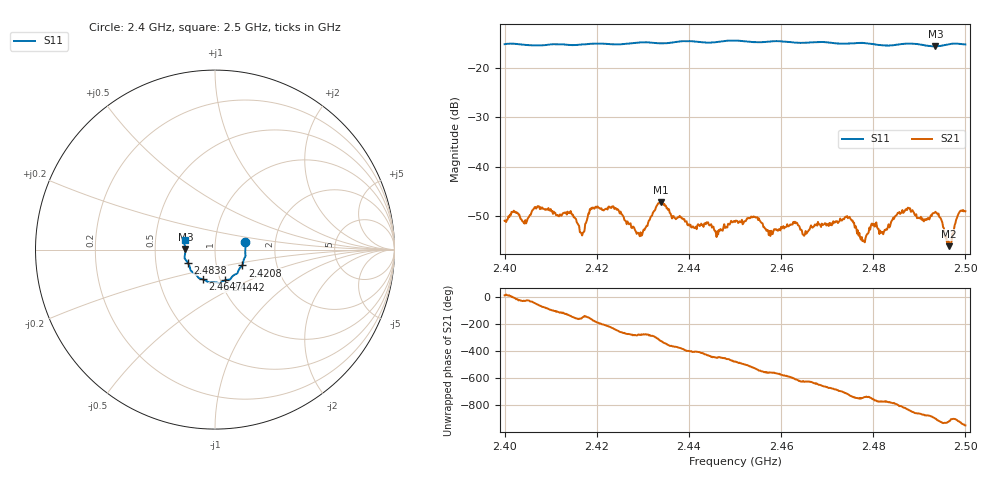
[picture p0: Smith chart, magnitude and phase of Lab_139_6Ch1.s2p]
# Hz S RI R 50
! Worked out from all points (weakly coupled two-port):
!   601 points, 2.4 GHz to 2.5 GHz, reference 50 ohm
!   highest |S21| = -47.25 dB at 2.4338 GHz (marker M1); lowest = -56.1 dB at 2.4965 GHz (marker M2)
!   lowest |S11| = -15.7 dB at 2.4935 GHz (marker M3), VSWR 1.39, Z = 35.9 + j0.184 ohm
!   |S11| at or under -10 dB: start of sweep to end of sweep
!   S12 and S22 are empty: the file has one direction only
!   S11 on the Smith chart (normalised r, x): 2.4 GHz: 1.40, +0.12; 2.4208 GHz: 1.33, -0.24; 2.4442 GHz: 1.05, -0.37; 2.4647 GHz: 0.83, -0.28; 2.4838 GHz: 0.73, -0.11; 2.5 GHz: 0.71, +0.08
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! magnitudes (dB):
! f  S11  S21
! 2.4 GHz  -15.2  -51.0
! 2.4077 GHz  -15.5  -48.6
! 2.4143 GHz  -15.4  -49.0
! 2.4167 GHz  -15.3  -53.5
! 2.4187 GHz  -15.1  -48.7
! 2.4208 GHz  -15.1  -48.6
! 2.4295 GHz  -14.8  -53.3
! 2.4333 GHz  -15.0  -47.4
! 2.4338 GHz  -15.0  -47.3
! 2.4442 GHz  -14.9  -51.3
! 2.45 GHz  -14.5  -51.2
! 2.4647 GHz  -14.9  -53.7
! 2.4667 GHz  -14.8  -52.3
! 2.4745 GHz  -15.1  -50.5
! 2.4777 GHz  -14.9  -55.1
! 2.4833 GHz  -15.5  -51.7
! 2.4838 GHz  -15.5  -51.4
! 2.4875 GHz  -15.1  -48.3
! 2.4935 GHz  -15.7  -49.2
! 2.4965 GHz  -15.2  -56.1
! 2.4985 GHz  -15.1  -49.6
! 2.5 GHz  -15.3  -49.1
